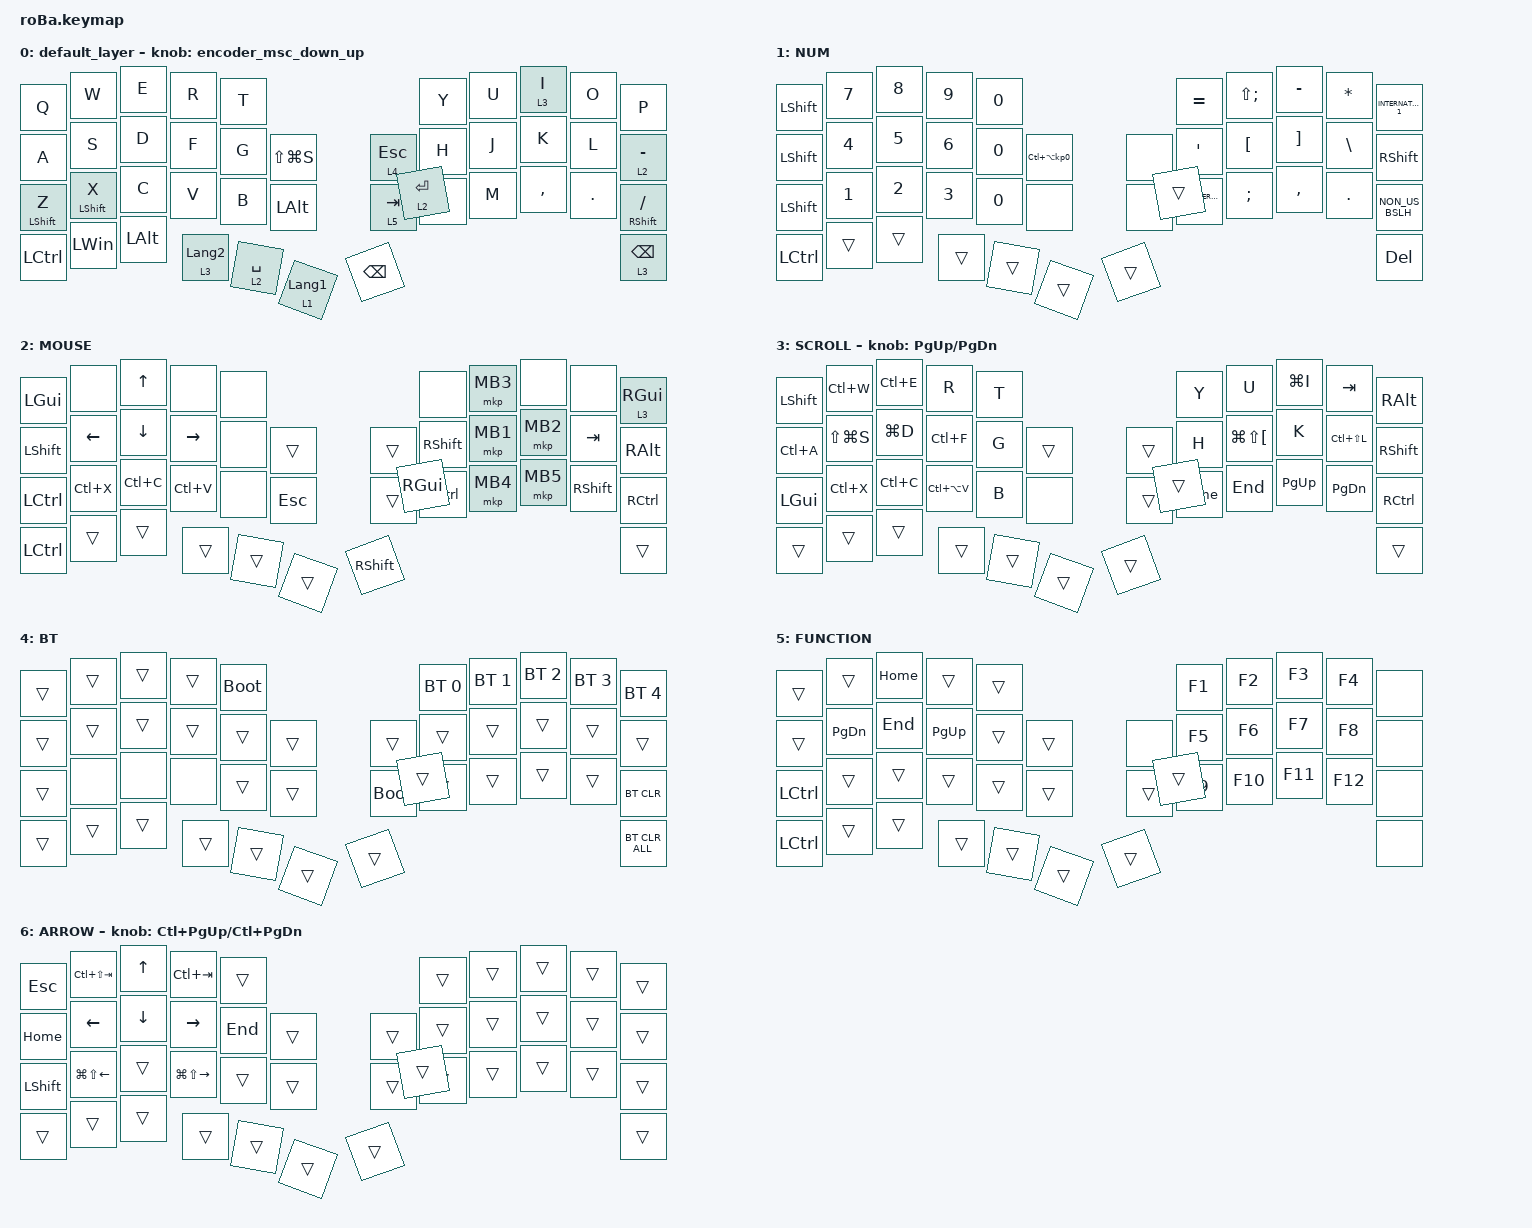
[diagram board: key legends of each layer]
#include <behaviors.dtsi>
#include <dt-bindings/zmk/bt.h>
#include <dt-bindings/zmk/keys.h>
#include <dt-bindings/zmk/pointing.h>

#define ZMK_POINTING_DEFAULT_SCRL_VAL 80

&mt {
    flavor = "balanced";
    quick-tap-ms = <0>;
};

&trackball {
    //    automouse-layer = <4>;

    scroll-layers = <3>;

    // arrows {
    //     layers = <3>;
    //     bindings =
    //         <&kp RIGHT_ARROW>,
    //         <&kp LEFT_ARROW>,
    //         <&kp UP_ARROW>,
    //         <&kp DOWN_ARROW>;
    //     tick = <10>;
    //     wait-ms = <5>;
    //     tap-ms = <5>;
    // };
};

/ {
    combos {
        compatible = "zmk,combos";

        tab {
            bindings = <&kp TAB>;
            key-positions = <11 12>;
        };

        shift_tab {
            bindings = <&kp LS(TAB)>;
            key-positions = <12 13>;
        };

        muhennkann {
            bindings = <&to_layer_0 INT_MUHENKAN>;
            key-positions = <11 10>;
        };

        double_quotation {
            bindings = <&kp DOUBLE_QUOTES>;
            key-positions = <20 21>;
        };

        eq {
            bindings = <&kp EQUAL>;
            key-positions = <24 25>;
        };
    };

    macros {
        to_layer_0: to_layer_0 {
            compatible = "zmk,behavior-macro-one-param";
            #binding-cells = <1>;
            bindings = <&to 0 &macro_param_1to1 &kp MACRO_PLACEHOLDER>;
            label = "TO_LAYER_0";
        };
    };

    behaviors {
        encoder_msc_down_up: encoder_msc_down_up {
            compatible = "zmk,behavior-sensor-rotate";
            label = "ENCODER_MSC_DOWN_UP";
            #sensor-binding-cells = <0>;
            bindings = <&msc SCRL_DOWN>, <&msc SCRL_UP>;

            tap-ms = <20>;
        };
    };

    behaviors {
        lt_to_layer_0: lt_to_layer_0 {
            compatible = "zmk,behavior-hold-tap";
            label = "LAYER_TAP_TO_0";
            bindings = <&mo>, <&to_layer_0>;

            #binding-cells = <2>;
            tapping-term-ms = <200>;
        };
    };

    keymap {
        compatible = "zmk,keymap";

        default_layer {
            bindings = <
&kp Q             &kp W             &kp E         &kp R                        &kp T                                                                  &kp Y        &kp U  &lt 3 I    &kp O    &kp P
&kp A             &kp S             &kp D         &kp F                        &kp G        &kp LS(LG(S))                    &lt_to_layer_0 4 ESCAPE  &kp H        &kp J  &kp K      &kp L    &lt_to_layer_0 2 MINUS
&mt LEFT_SHIFT Z  &mt LEFT_SHIFT X  &kp C         &kp V                        &kp B        &kp LEFT_ALT                     &lt_to_layer_0 5 TAB     &kp N        &kp M  &kp COMMA  &kp DOT  &mt RIGHT_SHIFT SLASH
&kp LCTRL         &kp LEFT_WIN      &kp LEFT_ALT  &lt_to_layer_0 3 LANGUAGE_2  &lt 2 SPACE  &lt_to_layer_0 1 LANGUAGE_1      &kp BACKSPACE            &lt 2 ENTER                             &lt_to_layer_0 3 BACKSPACE
            >;

            sensor-bindings = <&encoder_msc_down_up>;

            //  sensor-bindings = <&inc_dec_kp PG_UP PAGE_DOWN>;
        };

        NUM {
            bindings = <
&kp LEFT_SHIFT    &kp N7        &kp NUMBER_8  &kp NUMBER_9  &kp NUMBER_0                                       &kp EQUAL                &kp LS(SEMI)      &kp MINUS          &kp STAR       &kp INTERNATIONAL_1
&kp LEFT_SHIFT    &kp NUMBER_4  &kp NUMBER_5  &kp NUMBER_6  &kp NUMBER_0  &kp LC(LA(KP_NUMBER_0))      &none   &kp APOS                 &kp LEFT_BRACKET  &kp RIGHT_BRACKET  &kp BACKSLASH  &kp RIGHT_SHIFT
&kp LEFT_SHIFT    &kp NUMBER_1  &kp NUMBER_2  &kp NUMBER_3  &kp NUMBER_0  &none                        &none   &kp RS(INTERNATIONAL_1)  &kp SEMICOLON     &kp COMMA          &kp PERIOD     &kp NON_US_BSLH
&kp LEFT_CONTROL  &trans        &trans        &trans        &trans        &trans                       &trans  &trans                                                                       &kp DEL
            >;
        };

        MOUSE {
            bindings = <
&kp LEFT_GUI      &none           &kp UP_ARROW    &none            &none                                    &none              &mkp MB3  &none     &none            &lt_to_layer_0 3 RIGHT_GUI
&kp LEFT_SHIFT    &kp LEFT_ARROW  &kp DOWN_ARROW  &kp RIGHT_ARROW  &none   &trans          &trans           &kp RIGHT_SHIFT    &mkp MB1  &mkp MB2  &kp TAB          &kp RIGHT_ALT
&kp LEFT_CONTROL  &kp LC(X)       &kp LC(C)       &kp LC(V)        &none   &kp ESCAPE      &trans           &kp RIGHT_CONTROL  &mkp MB4  &mkp MB5  &kp RIGHT_SHIFT  &kp RIGHT_CONTROL
&kp LEFT_CONTROL  &trans          &trans          &trans           &trans  &trans          &kp RIGHT_SHIFT  &kp RIGHT_GUI                                           &trans
            >;
        };

        SCROLL {
            bindings = <
&kp LEFT_SHIFT  &kp LC(W)      &kp LC(E)  &kp R          &kp T                       &kp Y     &kp U                     &kp LG(I)    &kp TAB        &kp RIGHT_ALT
&kp LC(A)       &kp LS(LG(S))  &kp LG(D)  &kp LC(F)      &kp G   &trans      &trans  &kp H     &kp LG(LS(LEFT_BRACKET))  &kp K        &kp LC(LS(L))  &kp RIGHT_SHIFT
&kp LEFT_GUI    &kp LC(X)      &kp LC(C)  &kp LC(LA(V))  &kp B   &none       &trans  &kp HOME  &kp END                   &kp PAGE_UP  &kp PAGE_DOWN  &kp RIGHT_CONTROL
&trans          &trans         &trans     &trans         &trans  &trans      &trans  &trans                                                          &trans
            >;

            sensor-bindings = <&inc_dec_kp PAGE_UP PAGE_DOWN>;
        };

        BT {
            bindings = <
&trans  &trans  &trans  &trans  &bootloader                           &bt BT_SEL 0  &bt BT_SEL 1  &bt BT_SEL 2  &bt BT_SEL 3  &bt BT_SEL 4
&trans  &trans  &trans  &trans  &trans       &trans      &trans       &trans        &trans        &trans        &trans        &trans
&trans  &none   &none   &none   &trans       &trans      &bootloader  &trans        &trans        &trans        &trans        &bt BT_CLR
&trans  &trans  &trans  &trans  &trans       &trans      &trans       &trans                                                  &bt BT_CLR_ALL
            >;
        };

        FUNCTION {
            bindings = <
&trans            &trans         &kp HOME  &trans       &trans                      &kp F1  &kp F2   &kp F3   &kp F4   &none
&trans            &kp PAGE_DOWN  &kp END   &kp PAGE_UP  &trans  &trans      &none   &kp F5  &kp F6   &kp F7   &kp F8   &none
&kp LEFT_CONTROL  &trans         &trans    &trans       &trans  &trans      &trans  &kp F9  &kp F10  &kp F11  &kp F12  &none
&kp LEFT_CONTROL  &trans         &trans    &trans       &trans  &trans      &trans  &trans                             &none
            >;
        };

        ARROW {
            bindings = <
&kp ESCAPE      &kp LC(LS(TAB))         &kp UP_ARROW    &kp LC(TAB)              &trans                       &trans  &trans  &trans  &trans  &trans
&kp HOME        &kp LEFT_ARROW          &kp DOWN_ARROW  &kp RIGHT_ARROW          &kp END  &trans      &trans  &trans  &trans  &trans  &trans  &trans
&kp LEFT_SHIFT  &kp LG(LS(LEFT_ARROW))  &trans          &kp LG(LS(RIGHT_ARROW))  &trans   &trans      &trans  &trans  &trans  &trans  &trans  &trans
&trans          &trans                  &trans          &trans                   &trans   &trans      &trans  &trans                          &trans
            >;

            sensor-bindings = <&inc_dec_kp LC(PAGE_UP) LC(PAGE_DOWN)>;
        };
    };
};
